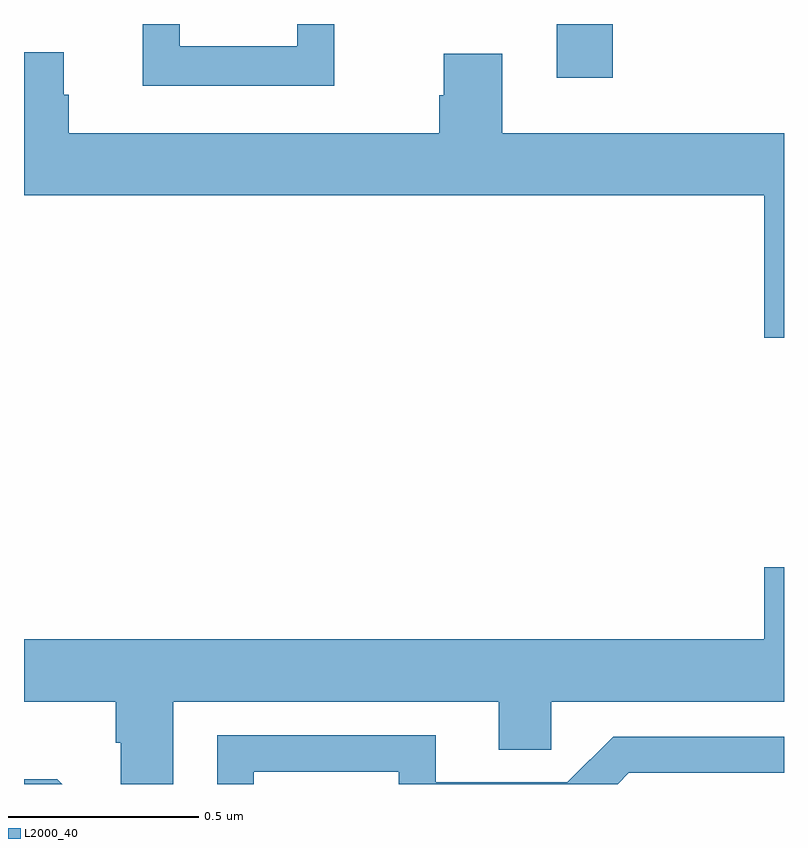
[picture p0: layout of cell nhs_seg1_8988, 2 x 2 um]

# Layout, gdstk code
import gdstk
lib = gdstk.Library(unit=1e-6, precision=1e-09)
def R(c, l, rs):  # rectangles x0, y0, x1, y1
    for r in rs: c.add(gdstk.rectangle(r[:2], r[2:], *l))
def P(c, l, *ps):  # polygons
    for p in ps: c.add(gdstk.Polygon(p, *l))
L2000_40 = (2000, 40)

nhs_seg1_8988 = lib.new_cell('nhs_seg1_8988')
R(nhs_seg1_8988, L2000_40, [(224.402,536.058,224.549,536.199)])
P(nhs_seg1_8988, L2000_40, [(223.816,536.199),(223.719,536.199),(223.719,536.14),(223.41,536.14),(223.41,536.199),(223.313,536.199),(223.313,536.036),(223.816,536.036)],
  [(225,535.912),(224.258,535.912),(224.258,536.121),(224.105,536.121),(224.105,536.012),(224.093,536.012),(224.093,535.912),(223.118,535.912),(223.118,536.013),(223.105,536.013),(223.105,536.125),(223,536.125),(223,535.748),(224.948,535.748),(224.948,535.374),(225,535.374)],
  [(223.393,534.416),(224.249,534.416),(224.249,534.289),(224.388,534.289),(224.388,534.416),(225,534.416),(225,534.769),(224.948,534.769),(224.948,534.58),(223,534.58),(223,534.416),(223.241,534.416),(223.241,534.307),(223.254,534.307),(223.254,534.199),(223.393,534.199)],
  [(223.605,534.231),(223.986,534.231),(223.986,534.199),(224.563,534.199),(224.592,534.228),(225,534.228),(225,534.324),(224.55,534.324),(224.43,534.204),(224.083,534.204),(224.083,534.327),(223.509,534.327),(223.509,534.199),(223.605,534.199)],
  [(223.087,534.212),(223,534.212),(223,534.199),(223.1,534.199)])

lib.write_gds('nhs_seg1_8988.gds')
